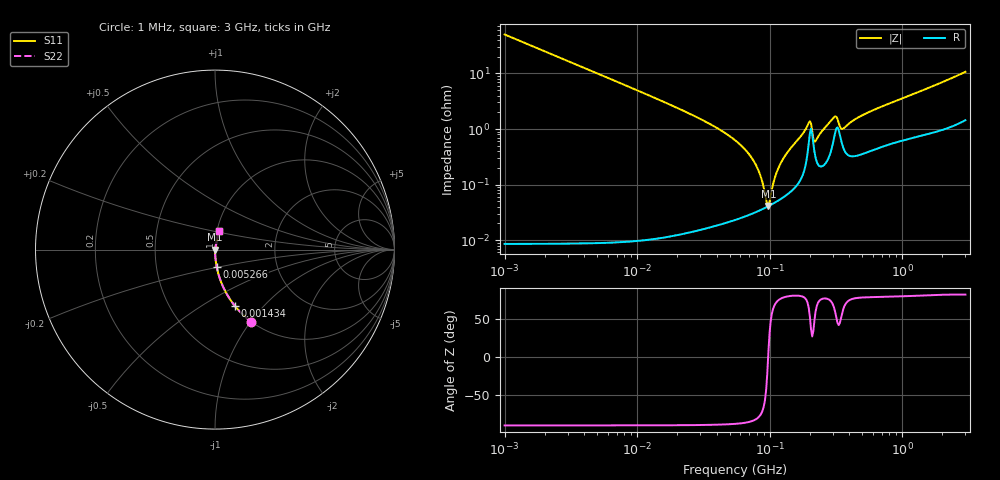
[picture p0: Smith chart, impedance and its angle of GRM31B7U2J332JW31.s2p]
!Murata Part Number: GRM31B7U2J332JW31
!These Parameters are Measured in Series Mode Connection
!Data Generated on Mar 30, 2021
!  o--ll--o
!Port1  Port2
!  o------o
!Operation Temp=25[degC], DC Bias Voltage=0[V]
!Freq. Start=1000[kHz] Stop=3[GHz] 401[Steps]
# Hz S RI R 50
!Freq.(Hz) S11(Real) S11(Imag) S21(Real) S21(Imag) S12(Real) S12(Imag) S22(Real) S22(Imag)
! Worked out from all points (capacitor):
!   401 points, 1 MHz to 3 GHz, reference 50 ohm
!   read as one part in series: C = 3.17 nF near 1.041 MHz
!   lowest |Z| = 41.1 mohm at 97.87 MHz (marker M1)
!   series resonance near 97.43 MHz, so ESL is about 840 pH
!   S11 on the Smith chart (normalised r, x): 1 MHz: 1.00, -1.01; 1.434 MHz: 1.00, -0.70; 5.266 MHz: 1.00, -0.19; 3 GHz: 1.03, +0.21
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1000000  0.2017 -0.4012  0.7983 0.4012  0.7983 0.4012  0.2017 -0.4012
1433740  0.1095 -0.3121  0.8905 0.3121  0.8905 0.3121  0.1095 -0.3121
3823119  0.017 -0.129  0.983 0.129  0.983 0.129  0.017 -0.129
5266264  0.00906 -0.0943  0.9909 0.0943  0.9909 0.0943  0.00906 -0.0943
1.461624e7  0.00124 -0.0336  0.9988 0.0336  0.9988 0.0336  0.00124 -0.0336
3.387922e7  0.000334 -0.013  0.9997 0.013  0.9997 0.013  0.000334 -0.013
5.477226e7  0.00027 -0.00629  0.9997 0.00629  0.9997 0.00629  0.00027 -0.00629
6.690964e7  0.000288 -0.00399  0.9997 0.00399  0.9997 0.00399  0.000288 -0.00399
7.697298e7  0.000318 -0.00247  0.9997 0.00247  0.9997 0.00247  0.000318 -0.00247
8.507507e7  0.000349 -0.00142  0.9997 0.00142  0.9997 0.00142  0.000349 -0.00142
9.402997e7  0.000389 -0.000372  0.9996 0.000372  0.9996 0.000372  0.000389 -0.000372
9.787052e7  0.000409 4.81e-05  0.9996 -4.81e-05  0.9996 -4.81e-05  0.000409 4.81e-05
1.125904e8  0.000494 0.00154  0.9995 -0.00154  0.9995 -0.00154  0.000494 0.00154
1.295243e8  0.00062 0.00313  0.9994 -0.00313  0.9994 -0.00313  0.00062 0.00313
1.971969e8  0.00553 0.0115  0.9945 -0.0115  0.9945 -0.0115  0.00553 0.0115
2.094008e8  0.00816 0.00415  0.9918 -0.00415  0.9918 -0.00415  0.00816 0.00415
2.223601e8  0.00304 0.00528  0.997 -0.00528  0.997 -0.00528  0.00304 0.00528
3.062963e8  0.00708 0.0146  0.9929 -0.0146  0.9929 -0.0146  0.00708 0.0146
3.594878e8  0.00465 0.00901  0.9954 -0.00901  0.9954 -0.00901  0.00465 0.00901
4.853736e8  0.00372 0.0166  0.9963 -0.0166  0.9963 -0.0166  0.00372 0.0166
8.005644e8  0.00604 0.028  0.994 -0.028  0.994 -0.028  0.00604 0.028
3e9  0.0248 0.1017  0.9752 -0.1017  0.9752 -0.1017  0.0248 0.1017
